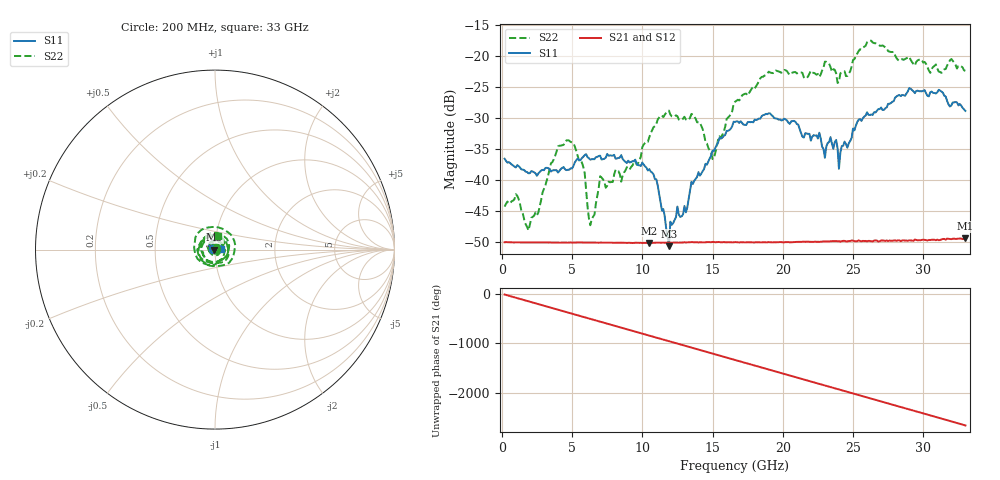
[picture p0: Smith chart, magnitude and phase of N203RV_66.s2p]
# GHZ S RI R 50
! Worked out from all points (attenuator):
!   329 points, 200 MHz to 33 GHz, reference 50 ohm
!   highest |S21| = -49.32 dB at 33 GHz (marker M1); lowest = -50.1 dB at 10.5 GHz (marker M2)
!   lowest |S11| = -50.6 dB at 11.9 GHz (marker M3), VSWR 1.01, Z = 49.7 - j0.0504 ohm
!   |S11| at or under -10 dB: start of sweep to end of sweep
!   |S22| runs from -48.1 to -17.5 dB; largest |S21 - S12| = 7.2e-05
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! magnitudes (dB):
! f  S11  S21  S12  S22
! 200 MHz  -36.5  -50.0  -50.0  -44.2
! 1 GHz  -37.9  -50.0  -50.0  -42.2
! 1.9 GHz  -38.9  -50.0  -50.0  -48.1
! 4 GHz  -38.8  -50.0  -50.0  -34.5
! 5.7 GHz  -36.4  -50.0  -50.0  -37.1
! 6.3 GHz  -36.7  -50.0  -50.0  -47.2
! 7 GHz  -36.0  -50.0  -50.0  -39.4
! 8.5 GHz  -36.0  -50.1  -50.1  -40.2
! 10.5 GHz  -38.2  -50.1  -50.1  -33.1
! 11.2 GHz  -42.3  -50.1  -50.0  -29.9
! 11.9 GHz  -50.6  -50.0  -50.0  -28.8
! 12 GHz  -46.7  -50.1  -50.1  -29.4
! 14.1 GHz  -39.3  -50.0  -50.0  -30.7
! 15 GHz  -35.2  -49.9  -49.9  -36.6
! 16.6 GHz  -30.6  -50.0  -50.0  -27.4
! 22.1 GHz  -33.0  -49.9  -49.9  -22.7
! 23 GHz  -36.4  -49.9  -49.8  -20.9
! 23.8 GHz  -33.5  -49.8  -49.8  -22.8
! 24 GHz  -38.2  -49.8  -49.8  -24.2
! 25.4 GHz  -30.3  -49.7  -49.7  -19.2
! 27.6 GHz  -27.7  -49.7  -49.7  -19.3
! 33 GHz  -28.8  -49.3  -49.3  -22.4
